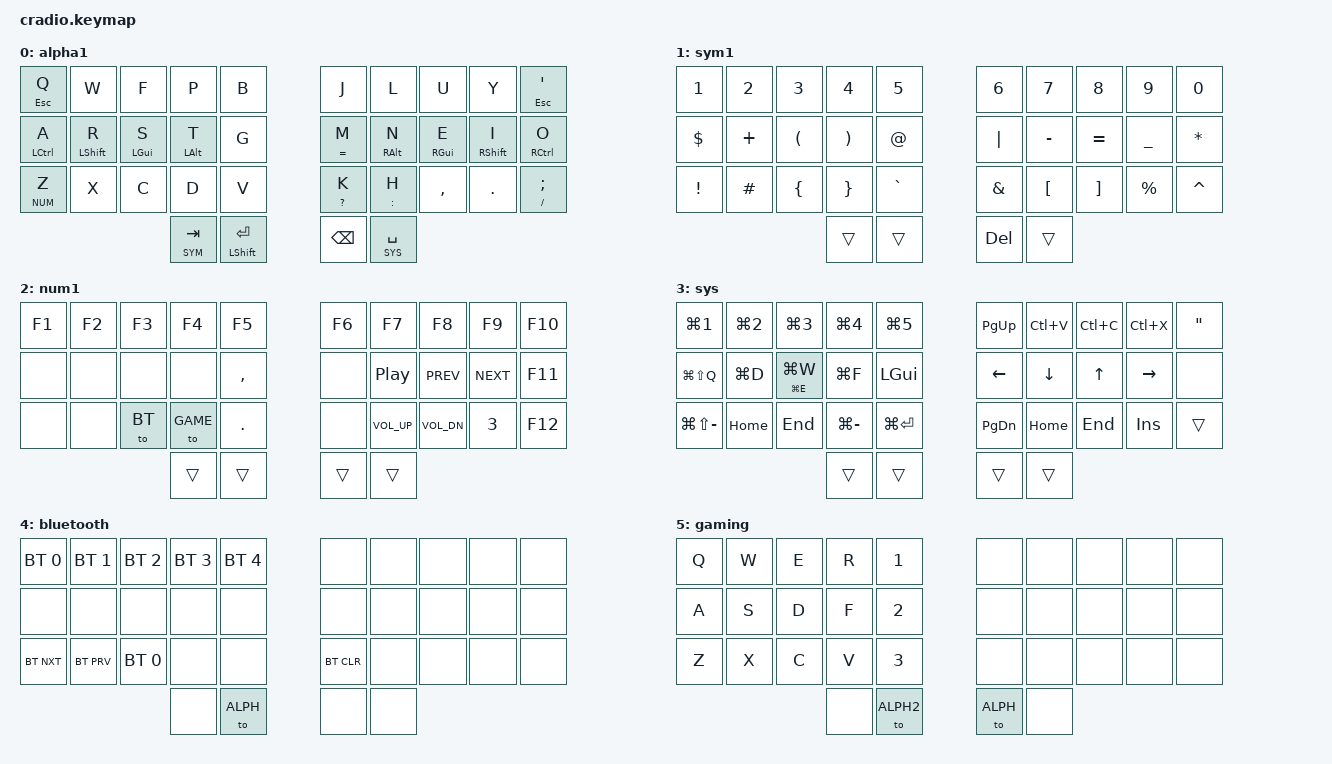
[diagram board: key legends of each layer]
/*
 * Copyright (c) 2020 The ZMK Contributors
 *
 * SPDX-License-Identifier: MIT
 */

#include <behaviors.dtsi>
#include <dt-bindings/zmk/keys.h>
#include <dt-bindings/zmk/bt.h>


&mt {
    flavor = "tap-preferred";
    tapping_term_ms = <200>;
 };
&sk {
    quick-release;
    release-after-ms = <2000>;
 };

 /* Layers */
 #define ALPH 0
 #define SYM 1
 #define NUM 2
 #define SYS 3
 #define BT 4
 #define GAME 5
 #define ALPH2 6
 / { 

    combos {
        compatible = "zmk,combos";

        combo_layer0 {
            timeout-ms = <50>;
            key-positions = <31 32>;
            bindings = <&to 0>;
        };
    };

    behaviors {
        hm: homerow_mods {
            compatible = "zmk,behavior-hold-tap";
            label = "HOMEROW_MODS";
            #binding-cells = <2>;
            tapping-term-ms = <200>;
            quick_tap_ms = <0>;
            flavor = "tap-preferred";
            bindings = <&kp>, <&kp>;
        };
        hl: homerow_layers {
            compatible = "zmk,behavior-hold-tap";
            label = "HOMEROW_LAYERS";
            #binding-cells = <2>;
            tapping-term-ms = <220>;
            quick_tap_ms = <0>;
            flavor = "tap-preferred";
            bindings = <&sl>, <&kp>;
        };
        sr: shift_layer {
           compatible = "zmk,behavior-hold-tap";
           label = "SHIFT_LAYER";
           #binding-cells = <2>;
           tapping-term-ms = <300>;
           quick_tap_ms = <0>;
           flavor = "tap-preferred";
           bindings = <&kp>, <&to>;
           retro-tap;
        };
        //shk: shift_key {
        //   compatible = "zmk,behavior-mod-morph";
        //   label = "SHIFT_KEY";
        //   #binding-cells = <2>;
        //   bindings = <&kp>, <&kp>;
        //   mods = <(MOD_LSFT|MOD_RSFT)>;
        //};

    };

        keymap {
                compatible = "zmk,keymap";
                
       	alpha1 {
		bindings = <
		&hm ESC Q   &kp W        &kp F      &kp P      &kp B   	&kp J          &kp L        &kp U      &kp Y         &hm ESC SQT 
		&hm LCTRL A &hm LSHIFT R &hm LGUI S &hm LALT T &kp G   	&hm EQUAL M    &hm RALT N   &hm RGUI E &hm RSHIFT I  &hm RCTRL O
		&hl NUM Z   &kp X        &kp C      &kp D      &kp V   	&hm QMARK K    &hm COLON H  &kp COMMA  &kp DOT       &hm SLASH SEMI
          		            &hl SYM TAB &hm LSHIFT ENTER 	    &kp BSPC   &hl SYS SPACE 
		>;
		};

       	sym1 {
		bindings = <
		&kp N1      &kp N2    &kp N3    &kp N4    &kp N5      &kp N6     &kp N7    &kp N8    &kp N9      &kp N0 
		&kp DOLLAR  &kp PLUS  &kp LPAR  &kp RPAR  &kp AT      &kp PIPE   &kp MINUS &kp EQUAL &kp UNDER   &kp STAR 
		&kp EXCL    &kp HASH  &kp LBRC  &kp RBRC  &kp GRAVE   &kp AMPS   &kp LBKT  &kp RBKT  &kp PERCENT &kp CARET
			                              &trans    &trans 	    &kp DEL    &trans 
		>;
		};
		
		num1 {
		bindings = <
		&kp F1  &kp F2  &kp F3  &kp F4    &kp F5    	  &kp F6  &kp F7            &kp F8        &kp F9     &kp F10
		&none   &none   &none   &none     &kp COMMA     &none   &kp C_PLAY_PAUSE  &kp C_PREV    &kp C_NEXT &kp F11
		&none   &none   &to BT  &to GAME  &kp DOT   	  &none   &kp C_VOL_UP      &kp C_VOL_DN  &kp NUM_3  &kp F12
					                  &trans    &trans	      &trans  &trans 
		>;
		};	

        sys {
        bindings = <
		&kp LG(NUM_1)     &kp LG(NUM_2) &kp LG(NUM_3)    &kp LG(NUM_4) &kp LG(NUM_5)    &kp PG_UP &kp LC(V) &kp LC(C)  &kp LC(X)  &kp DQT
		&kp LG(LS(Q))     &kp LG(D)     &hm LG(E) LG(W)  &kp LG(F)     &kp LGUI   	    &kp LEFT  &kp DOWN  &kp UP     &kp RIGHT  &none
		&kp LG(LS(MINUS)) &kp HOME      &kp END          &kp LG(MINUS) &kp LG(ENTER)  	&kp PG_DN &kp HOME  &kp END    &kp INS    &trans
					                                           &trans        &trans   	      &trans    &trans 
        >;
        };
        
        bluetooth {
        bindings = <
		&bt BT_SEL 0  &bt BT_SEL 1  &bt BT_SEL 2  &bt BT_SEL 3  &bt BT_SEL 4   &none       &none  &none  &none  &none
		&none         &none         &none         &none         &none		       &none       &none  &none  &none  &none 
		&bt BT_NXT    &bt BT_PRV    &bt BT_SEL 0  &none         &none		       &bt BT_CLR  &none  &none  &none  &none 
					                                    &none         &to ALPH       &none       &none
        >;
        };
        
        gaming {
        bindings = <
		&kp Q   &kp W  &kp E  &kp R  &kp NUM_1     &none     &none  &none  &none  &none
		&kp A   &kp S  &kp D  &kp F  &kp NUM_2		 &none     &none  &none  &none  &none 
		&kp Z   &kp X  &kp C  &kp V  &kp NUM_3		 &none     &none  &none  &none  &none 
					                &none  &to ALPH2  	 &to ALPH  &none
        >;
        };

/*       	alpha2 {
		bindings = <
		&kp Q       &kp W      &kp E      &kp R &kp T   			&kp Y          &kp U        &kp I           &kp O        &kp P 
		&hm LCTRL A &hm LGUI S &hm LALT D &kp F &kp G   	        &hm EQUAL H    &kp J        &hm RALT K      &hm RGUI L   &hm RCTRL ESC
		&hl NUM Z   &kp X      &kp C      &kp V &kp B   	        &hm QMARK N    &hm COLON M  &hm MINUS COMMA &hm EXCL DOT &hm UNDER SLASH
          		            &hm LSHIFT ENTER &hm LCTRL TAB 	        &hl SYS BSPC   &hl SYM SPACE 
		>;
		};
*/        
	};
};
